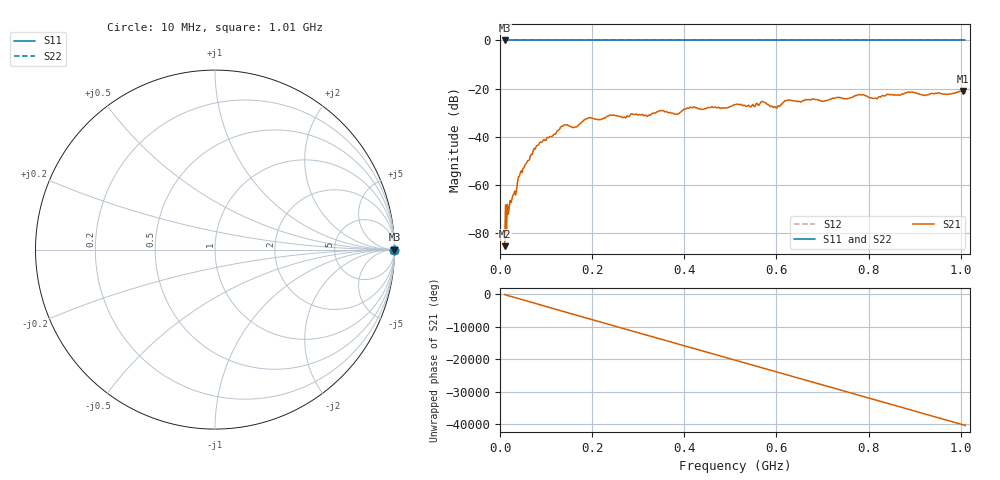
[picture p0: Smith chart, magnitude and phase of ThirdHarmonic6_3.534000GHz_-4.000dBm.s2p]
! 8/17/2025 11:37:18 AM
! C:\ANRITSUVNA\TEMP\TEMP.S2P
! CHANNEL.1
! TR.MEASUREMENT
! RAW.DATA
! RF.CORRECTION.OFF
! AVERAGING.OFF
! IF.BANDWIDTH: 5KHZ
! SWEEPTYPE:  FREQ.SWEEP(Linear)
! Reference Plane Port Info
! PORT:  PORT1  PORT2
! DISTANCE:  0  m  0  m
! TIME:  0  s  0  s
! PHASE.OFFSET:  0  deg.  0  deg.
! LOSS:  0  dB  0  dB
! REF.LOSS:  0  dB  0  dB
! REF.FREQ:  0  Hz  0  Hz
! Power Info
! POWER:  -20  dBm  -20  dBm
! EFF.POWER:  -20  dBm  -20  dBm
! SOURCE.ATTEN:  0  dB  0  dB
! TEST.ATTEN:  0  dB  0  dB
# GHZ S RI R 50.0
! FREQ.GHZ  S11RE  S11IM  S21RE  S21IM  S12RE  S12IM  S22RE  S22IM
!; PortSelection: Port_12
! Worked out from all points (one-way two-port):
!   501 points, 10 MHz to 1.01 GHz, reference 50 ohm
!   highest |S21| = -21.05 dB at 1.004 GHz (marker M1); lowest = -85.5 dB at 10 MHz (marker M2)
!   lowest |S11| = 0.0 dB at 10 MHz (marker M3)
!   |S11| at or under -10 dB: nowhere
!   |S22| runs from 0.0 to 0.0 dB; largest |S21 - S12| = 1.1
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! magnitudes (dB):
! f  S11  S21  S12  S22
! 10 MHz  0.0  -85.5  0.0  0.0
! 20 MHz  0.0  -69.6  0.0  0.0
! 34 MHz  0.0  -64.2  0.0  0.0
! 42 MHz  0.0  -56.5  0.0  0.0
! 76 MHz  0.0  -45.2  0.0  0.0
! 136 MHz  0.0  -35.7  0.0  0.0
! 162 MHz  0.0  -36.0  0.0  0.0
! 178 MHz  0.0  -33.9  0.0  0.0
! 344 MHz  0.0  -29.5  0.0  0.0
! 384 MHz  0.0  -30.6  0.0  0.0
! 410 MHz  0.0  -28.2  0.0  0.0
! 510 MHz  0.0  -26.7  0.0  0.0
! 548 MHz  0.0  -26.6  0.0  0.0
! 570 MHz  0.0  -25.4  0.0  0.0
! 598 MHz  0.0  -27.7  0.0  0.0
! 622 MHz  0.0  -24.9  0.0  0.0
! 678 MHz  0.0  -24.3  0.0  0.0
! 782 MHz  0.0  -22.5  0.0  0.0
! 814 MHz  0.0  -23.9  0.0  0.0
! 844 MHz  0.0  -22.5  0.0  0.0
! 1.004 GHz  0.0  -21.1  0.0  0.0
! 1.01 GHz  0.0  -21.7  0.0  0.0
